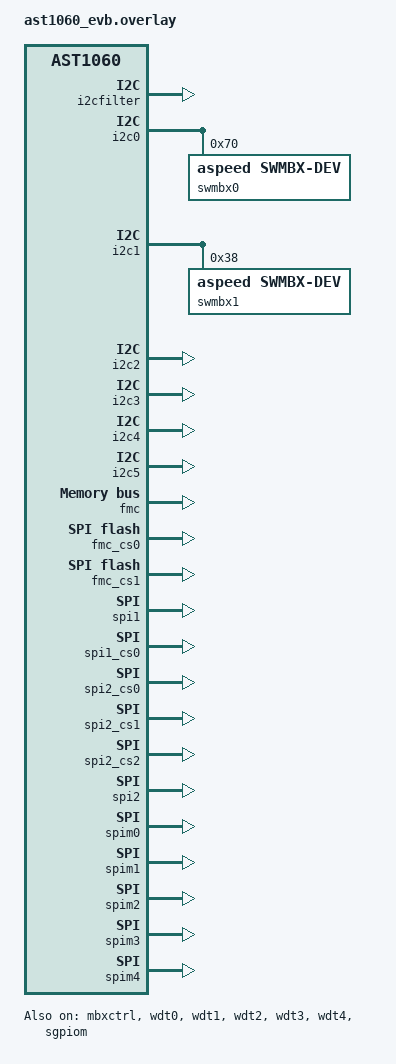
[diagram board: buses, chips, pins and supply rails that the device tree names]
#include "ast1060_dcscm_gpio_common.dts"
#include "ast1060_dcscm_gpio_egs.dts"

&sram0 {
	reg = <0 DT_SIZE_K(640)>;
};

&sram1 {
	reg = <0xa0000 DT_SIZE_K(128)>;
};

&i2cfilter {
	status = "okay";
};

&mbxctrl {
	status = "okay";
};

&i2c0 {
	status = "okay";

	swmbx0: swmbx0@70 {
		compatible = "aspeed,swmbx-dev";
		reg = <0x70>;
		size = <256>;
		port = <1>;
		status = "okay";
	};
};

&i2c1 {
	status = "okay";

	swmbx1: swmbx1@38 {
		compatible = "aspeed,swmbx-dev";
		reg = <0x38>;
		size = <256>;
		port = <0>;
		status = "okay";
	};
};

&i2c2 {
	status = "okay";
};

&i2c3 {
	status = "okay";

};

&i2c4 {
	status = "okay";
};

&i2c5 {
	status = "okay";
};

&wdt0 {
	status = "okay";
};

&wdt1 {
	status = "okay";
};

&wdt2 {
	status = "okay";
};

&wdt3 {
	status = "okay";
};

&wdt4 {
	status = "okay";
};

&fmc {
	status = "okay";
};

&fmc_cs0 {
	/delete-property/ broken-sfdp;
	/delete-property/ write-block-size;
	status = "okay";
	spi-max-buswidth = <4>;
	spi-max-frequency = <50000000>;
	partitions {
		compatible = "fixed-partitions";
		#address-cells = <1>;
		#size-cells = <1>;
		active_partition: partition@0 {
			label = "active";
			reg = <0x0 0x60000>;
		};

		recovery_partition: partition@60000 {
			label = "recovery";
			reg = <0x60000 0x60000>;
		};

		state_partition: partition@c0000 {
			label = "state";
			reg = <0xC0000 0x10000>;
		};

		intel_state_partition: partition@d0000 {
			label = "intel_state";
			reg = <0xD0000 0x10000>;
		};

		key_partition: partition@e0000 {
			label = "key";
			reg = <0xE0000 0x10000>;
		};

		afm_act_1_partition: partition@f0000 {
			label = "afm_act_1";
			reg = <0xF0000 0x10000>;
		};
	};
};

&fmc_cs1 {
	status = "okay";
	spi-max-buswidth = <4>;
	spi-max-frequency = <50000000>;
};

&spi1 {
	num-cs = <1>;
	status = "okay";
};

&spi1_cs0 {
	spi-max-buswidth = <4>;
	spi-max-frequency = <50000000>;
	spi-monitor-ctrl = <&spim1>;
	status = "okay";
};

/* Use AST1060 SPI2 as the internal SPI master to
 * to access the SPI flashes connected to SPI monitors
 * Here,
 * "SPI2_CS0" used to access flash connected to SPI_Monitor_2,
 * "SPI2_CS1" is used to access flash connected to SPI_Monitor_3,
 * "SPI2_CS2" is used to access flash connected to SPI_Monitor_4,
 */

&spi2_cs0 {
	spi-max-buswidth = <4>;
	spi-max-frequency = <50000000>;
	reg = <0>;
	spi-monitor-ctrl = <&spim3>;
	status = "okay";
};

&spi2_cs1 {
	spi-max-buswidth = <4>;
	spi-max-frequency = <50000000>;
	reg = <1>;
	spi-monitor-ctrl = <&spim4>;
	status = "okay";
};

&spi2_cs2 {
	spi-max-buswidth = <4>;
	spi-max-frequency = <50000000>;
	reg = <2>;
	status = "okay";
};

&spi2 {
	internal-mux-master = <2>;
	spi-monitor-output-base = <2>;
	spi-monitor-common-ctrl = <&spim0>;
	pinctrl-0 = <>;

	num-cs = <3>;
	status = "okay";
};

&spim0 {
	status = "okay";
};

&spim1 {
	allow-cmds = [03 13 0b 0c 6b 6c 01 05 35 06 04 20 21 9f 5a b7 e9 32 34 d8 dc 02 12 15 31 3b 3c];
	log-ram-size = <0x200>;
	pinctrl-0 = <pinctrl_spim1_quad_default>;
	pinctrl-names = "default";

	status = "okay";
	write-forbidden-regions = <
		0x00000000 0x08000000
	>;
};

&spim2 {
	allow-cmds = [03 13 0b 0c 6b 6c 01 05 35 06 04 20 21 9f 5a b7 e9 32 34 d8 dc 02 12 15 31 3b 3c];
	log-ram-size = <0x200>;
	pinctrl-0 = <pinctrl_spim2_quad_default>;
	pinctrl-names = "default";

	status = "okay";
	write-forbidden-regions = <
		0x00000000 0x08000000
	>;
};

&spim3 {
	allow-cmds = [03 13 0b 0c 6b 6c 01 05 35 06 04 20 21 9f 5a b7 e9 32 34 d8 dc 02 12 15 31 3b 3c];
	log-ram-size = <0x200>;
	pinctrl-0 = <&pin_spim3csin &pin_spim3clkin &pin_spim3mosiin &pin_spim3misoin
		&pin_spim3csout &pin_spim3io2in &pin_spim3io3in &pin_spim3clkout
		&pin_spim3misoout &pin_spim3mosiout &pin_spim3io2out &pin_spim3io3out
		&pin_spim3muxsel>;
	pinctrl-names = "default";

	status = "okay";
};

&spim4 {
	allow-cmds = [03 13 0b 0c 6b 6c 01 05 35 06 04 20 21 9f 5a b7 e9 32 34 d8 dc 02 12 15 31 3b 3c];
	log-ram-size = <0x200>;
	/* for demo purpose */
	/*
	read-forbidden-regions = <
		0x00000000 0x10000
		0x00274000 0x4000
		0x01E00000 0x80000
	>;

	write-forbidden-regions = <
		0x00000000 0x10000
		0x013FC000 0x28000
		0x0FFF8000 0x8000
	>;
	*/

	pinctrl-0 = <&pin_spim4csin &pin_spim4clkin &pin_spim4mosiin &pin_spim4misoin
		&pin_spim4csout &pin_spim4io2in &pin_spim4io3in &pin_spim4clkout
		&pin_spim4misoout &pin_spim4mosiout &pin_spim4io2out &pin_spim4io3out
		&pin_spim4muxsel>;
	pinctrl-names = "default";

	status = "okay";
};

&sgpiom {
	status = "okay";
	sgpiom_a_d {
		status = "okay";
	};
	sgpiom_e_h {
		status = "okay";
	};
	sgpiom_i_l {
		status = "okay";
	};
	sgpiom_m_p {
		status = "okay";
	};
};
